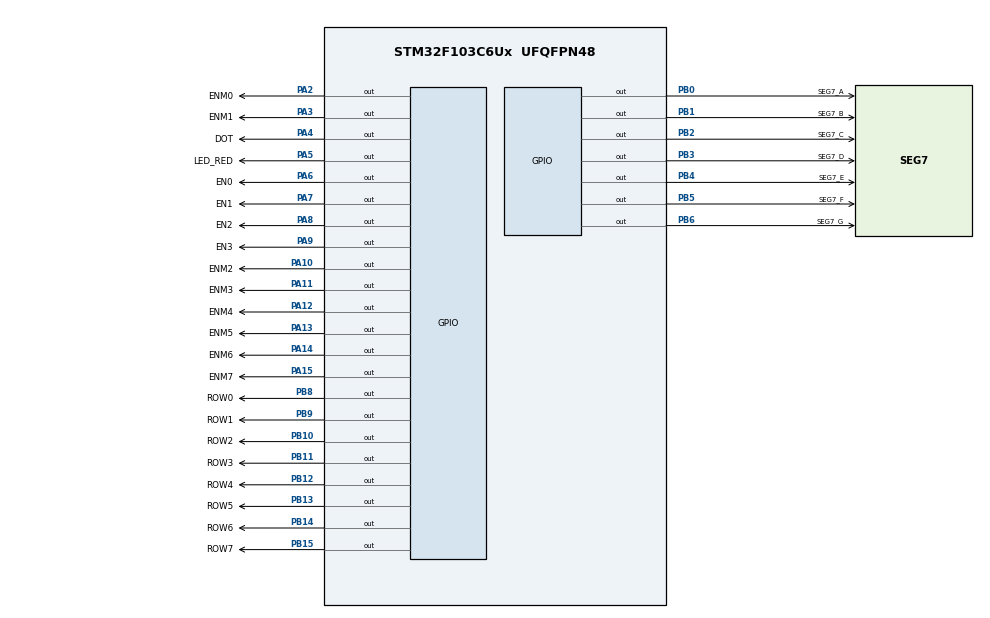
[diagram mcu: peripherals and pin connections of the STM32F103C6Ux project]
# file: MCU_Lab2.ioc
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Mcu.Family=STM32F1
Mcu.Name=STM32F103C6Ux
Mcu.Package=UFQFPN48
NVIC.PriorityGroup=NVIC_PRIORITYGROUP_4
NVIC.TIM2_IRQn=true\:0\:0\:false\:false\:true\:true\:true
PA10.GPIO_Label=ENM2
PA10.Signal=GPIO_Output
PA11.GPIO_Label=ENM3
PA11.Signal=GPIO_Output
PA12.GPIO_Label=ENM4
PA12.Signal=GPIO_Output
PA13.GPIO_Label=ENM5
PA13.Signal=GPIO_Output
PA14.GPIO_Label=ENM6
PA14.Signal=GPIO_Output
PA15.GPIO_Label=ENM7
PA15.Signal=GPIO_Output
PA2.GPIO_Label=ENM0
PA2.Signal=GPIO_Output
PA3.GPIO_Label=ENM1
PA3.Signal=GPIO_Output
PA4.GPIO_Label=DOT
PA4.Signal=GPIO_Output
PA5.GPIO_Label=LED_RED
PA5.Signal=GPIO_Output
PA6.GPIO_Label=EN0
PA6.Signal=GPIO_Output
PA7.GPIO_Label=EN1
PA7.Signal=GPIO_Output
PA8.GPIO_Label=EN2
PA8.Signal=GPIO_Output
PA9.GPIO_Label=EN3
PA9.Signal=GPIO_Output
PB0.GPIO_Label=SEG7_A
PB0.Signal=GPIO_Output
PB1.GPIO_Label=SEG7_B
PB1.Signal=GPIO_Output
PB10.GPIO_Label=ROW2
PB10.Signal=GPIO_Output
PB11.GPIO_Label=ROW3
PB11.Signal=GPIO_Output
PB12.GPIO_Label=ROW4
PB12.Signal=GPIO_Output
PB13.GPIO_Label=ROW5
PB13.Signal=GPIO_Output
PB14.GPIO_Label=ROW6
PB14.Signal=GPIO_Output
PB15.GPIO_Label=ROW7
PB15.Signal=GPIO_Output
PB2.GPIO_Label=SEG7_C
PB2.Signal=GPIO_Output
PB3.GPIO_Label=SEG7_D
PB3.Signal=GPIO_Output
PB4.GPIO_Label=SEG7_E
PB4.Signal=GPIO_Output
PB5.GPIO_Label=SEG7_F
PB5.Signal=GPIO_Output
PB6.GPIO_Label=SEG7_G
PB6.Signal=GPIO_Output
PB8.GPIO_Label=ROW0
PB8.Signal=GPIO_Output
PB9.GPIO_Label=ROW1
PB9.Signal=GPIO_Output
ProjectManager.HeapSize=0x200
ProjectManager.StackSize=0x400
ProjectManager.TargetToolchain=STM32CubeIDE
RCC.APB1Freq_Value=8000000
RCC.APB2Freq_Value=8000000
TIM2.Period=9
TIM2.Prescaler=7999
VP_SYS_VS_ND.Mode=No_Debug
VP_TIM2_VS_ClockSourceINT.Mode=Internal
board=custom

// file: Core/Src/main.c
/* USER CODE BEGIN Header */
/**
  ******************************************************************************
  * @file           : main.c
  * @brief          : Main program body
  ******************************************************************************
  * @attention
  *
  * <h2><center>&copy; Copyright (c) 2023 STMicroelectronics.
  * All rights reserved.</center></h2>
  *
  * This software component is licensed by ST under BSD 3-Clause license,
  * the "License"; You may not use this file except in compliance with the
  * License. You may obtain a copy of the License at:
  *                        opensource.org/licenses/BSD-3-Clause
  *
  ******************************************************************************
  */
/* USER CODE END Header */
#include "main.h"

/* USER CODE BEGIN Includes */
#include "software_timer.h"
/* USER CODE END Includes */

TIM_HandleTypeDef htim2;

void SystemClock_Config(void);
static void MX_GPIO_Init(void);
static void MX_TIM2_Init(void);
/* USER CODE BEGIN PFP */
void display7SEG(int num){
	if(num==1 || num==4) HAL_GPIO_WritePin (SEG7_A_GPIO_Port, SEG7_A_Pin, SET);
	else HAL_GPIO_WritePin (SEG7_A_GPIO_Port, SEG7_A_Pin, RESET);

	if(num==5 || num==6) HAL_GPIO_WritePin (SEG7_B_GPIO_Port, SEG7_B_Pin, SET);
	else HAL_GPIO_WritePin (SEG7_B_GPIO_Port, SEG7_B_Pin, RESET);

	if(num==2) HAL_GPIO_WritePin (SEG7_C_GPIO_Port, SEG7_C_Pin, SET);
	else HAL_GPIO_WritePin (SEG7_C_GPIO_Port, SEG7_C_Pin, RESET);

	if(num==1 || num==4 || num==7) HAL_GPIO_WritePin (SEG7_D_GPIO_Port, SEG7_D_Pin, SET);
	else HAL_GPIO_WritePin (SEG7_D_GPIO_Port, SEG7_D_Pin, RESET);

	if(num==1 || num==3 || num==4 || num==5 || num==7 || num==9) HAL_GPIO_WritePin (SEG7_E_GPIO_Port, SEG7_E_Pin, SET);
	else HAL_GPIO_WritePin (SEG7_E_GPIO_Port, SEG7_E_Pin, RESET);

	if(num==1 || num==2 || num==3 || num==7) HAL_GPIO_WritePin (SEG7_F_GPIO_Port, SEG7_F_Pin, SET);
	else HAL_GPIO_WritePin (SEG7_F_GPIO_Port, SEG7_F_Pin, RESET);

	if(num==0 || num==1 || num==7) HAL_GPIO_WritePin (SEG7_G_GPIO_Port, SEG7_G_Pin, SET);
	else HAL_GPIO_WritePin (SEG7_G_GPIO_Port, SEG7_G_Pin, RESET);

}

const int MAX_LED = 4;
int index_led = 0;
int led_buffer[4] = {1, 2, 3, 4};
void update7SEG(int index){
	switch(index){
	case 0:
		// Display the first 7 SEG with led_buffer [0]
		HAL_GPIO_WritePin(EN0_GPIO_Port, EN0_Pin, RESET);
		HAL_GPIO_WritePin(EN1_GPIO_Port, EN1_Pin, SET);
		HAL_GPIO_WritePin(EN2_GPIO_Port, EN2_Pin, SET);
		HAL_GPIO_WritePin(EN3_GPIO_Port, EN3_Pin, SET);
		display7SEG(led_buffer[0]);
		break;
	case 1:
		// Display the second 7 SEG with led_buffer [1]
		HAL_GPIO_WritePin(EN0_GPIO_Port, EN0_Pin, SET);
		HAL_GPIO_WritePin(EN1_GPIO_Port, EN1_Pin, RESET);
		HAL_GPIO_WritePin(EN2_GPIO_Port, EN2_Pin, SET);
		HAL_GPIO_WritePin(EN3_GPIO_Port, EN3_Pin, SET);
		display7SEG(led_buffer[1]);
		break;
	case 2:
		// Display the third 7 SEG with led_buffer [2]
		HAL_GPIO_WritePin(EN0_GPIO_Port, EN0_Pin, SET);
		HAL_GPIO_WritePin(EN1_GPIO_Port, EN1_Pin, SET);
		HAL_GPIO_WritePin(EN2_GPIO_Port, EN2_Pin, RESET);
		HAL_GPIO_WritePin(EN3_GPIO_Port, EN3_Pin, SET);
		display7SEG(led_buffer[2]);
		break;
	case 3:
		// Display the forth 7 SEG with led_buffer [3]
		HAL_GPIO_WritePin(EN0_GPIO_Port, EN0_Pin, SET);
		HAL_GPIO_WritePin(EN1_GPIO_Port, EN1_Pin, SET);
		HAL_GPIO_WritePin(EN2_GPIO_Port, EN2_Pin, SET);
		HAL_GPIO_WritePin(EN3_GPIO_Port, EN3_Pin, RESET);
		display7SEG(led_buffer[3]);
		break;
	default:
		break;
	}
}

void updateClockBuffer(int hour, int minute){
	led_buffer[0] = hour/10;
	led_buffer[1] = hour%10;
	led_buffer[2] = minute/10;
	led_buffer[3] = minute%10;
}

const int MAX_LED_MATRIX = 8;
int index_led_matrix = 0;
uint8_t matrix_buffer[8] = {0x00, 0x00, 0x00, 0x00, 0x00, 0x00, 0x00, 0x00};
void updateLEDMatrix(int index){
	switch(index){
	case 0:
		HAL_GPIO_WritePin(ROW0_GPIO_Port, ROW0_Pin, RESET);
		HAL_GPIO_WritePin(ROW1_GPIO_Port, ROW1_Pin, SET);
		HAL_GPIO_WritePin(ROW2_GPIO_Port, ROW2_Pin, SET);
		HAL_GPIO_WritePin(ROW3_GPIO_Port, ROW3_Pin, SET);
		HAL_GPIO_WritePin(ROW4_GPIO_Port, ROW4_Pin, SET);
		HAL_GPIO_WritePin(ROW5_GPIO_Port, ROW5_Pin, SET);
		HAL_GPIO_WritePin(ROW6_GPIO_Port, ROW6_Pin, SET);
		HAL_GPIO_WritePin(ROW7_GPIO_Port, ROW7_Pin, SET);

		HAL_GPIO_WritePin(ENM0_GPIO_Port, ENM0_Pin, (matrix_buffer[0] >> 0) & 1);
		HAL_GPIO_WritePin(ENM1_GPIO_Port, ENM1_Pin, (matrix_buffer[0] >> 1) & 1);
		HAL_GPIO_WritePin(ENM2_GPIO_Port, ENM2_Pin, (matrix_buffer[0] >> 2) & 1);
		HAL_GPIO_WritePin(ENM3_GPIO_Port, ENM3_Pin, (matrix_buffer[0] >> 3) & 1);
		HAL_GPIO_WritePin(ENM4_GPIO_Port, ENM4_Pin, (matrix_buffer[0] >> 4) & 1);
		HAL_GPIO_WritePin(ENM5_GPIO_Port, ENM5_Pin, (matrix_buffer[0] >> 5) & 1);
		HAL_GPIO_WritePin(ENM6_GPIO_Port, ENM6_Pin, (matrix_buffer[0] >> 6) & 1);
		HAL_GPIO_WritePin(ENM7_GPIO_Port, ENM7_Pin, (matrix_buffer[0] >> 7) & 1);
		break;
	case 1:
		HAL_GPIO_WritePin(ROW0_GPIO_Port, ROW0_Pin, SET);
		HAL_GPIO_WritePin(ROW1_GPIO_Port, ROW1_Pin, RESET);
		HAL_GPIO_WritePin(ROW2_GPIO_Port, ROW2_Pin, SET);
		HAL_GPIO_WritePin(ROW3_GPIO_Port, ROW3_Pin, SET);
		HAL_GPIO_WritePin(ROW4_GPIO_Port, ROW4_Pin, SET);
		HAL_GPIO_WritePin(ROW5_GPIO_Port, ROW5_Pin, SET);
		HAL_GPIO_WritePin(ROW6_GPIO_Port, ROW6_Pin, SET);
		HAL_GPIO_WritePin(ROW7_GPIO_Port, ROW7_Pin, SET);

		HAL_GPIO_WritePin(ENM0_GPIO_Port, ENM0_Pin, (matrix_buffer[1] >> 0) & 1);
		HAL_GPIO_WritePin(ENM1_GPIO_Port, ENM1_Pin, (matrix_buffer[1] >> 1) & 1);
		HAL_GPIO_WritePin(ENM2_GPIO_Port, ENM2_Pin, (matrix_buffer[1] >> 2) & 1);
		HAL_GPIO_WritePin(ENM3_GPIO_Port, ENM3_Pin, (matrix_buffer[1] >> 3) & 1);
		HAL_GPIO_WritePin(ENM4_GPIO_Port, ENM4_Pin, (matrix_buffer[1] >> 4) & 1);
		HAL_GPIO_WritePin(ENM5_GPIO_Port, ENM5_Pin, (matrix_buffer[1] >> 5) & 1);
		HAL_GPIO_WritePin(ENM6_GPIO_Port, ENM6_Pin, (matrix_buffer[1] >> 6) & 1);
		HAL_GPIO_WritePin(ENM7_GPIO_Port, ENM7_Pin, (matrix_buffer[1] >> 7) & 1);
		break;
	case 2:
		HAL_GPIO_WritePin(ROW0_GPIO_Port, ROW0_Pin, SET);
		HAL_GPIO_WritePin(ROW1_GPIO_Port, ROW1_Pin, SET);
		HAL_GPIO_WritePin(ROW2_GPIO_Port, ROW2_Pin, RESET);
		HAL_GPIO_WritePin(ROW3_GPIO_Port, ROW3_Pin, SET);
		HAL_GPIO_WritePin(ROW4_GPIO_Port, ROW4_Pin, SET);
		HAL_GPIO_WritePin(ROW5_GPIO_Port, ROW5_Pin, SET);
		HAL_GPIO_WritePin(ROW6_GPIO_Port, ROW6_Pin, SET);
		HAL_GPIO_WritePin(ROW7_GPIO_Port, ROW7_Pin, SET);

		HAL_GPIO_WritePin(ENM0_GPIO_Port, ENM0_Pin, (matrix_buffer[2] >> 0) & 1);
		HAL_GPIO_WritePin(ENM1_GPIO_Port, ENM1_Pin, (matrix_buffer[2] >> 1) & 1);
		HAL_GPIO_WritePin(ENM2_GPIO_Port, ENM2_Pin, (matrix_buffer[2] >> 2) & 1);
		HAL_GPIO_WritePin(ENM3_GPIO_Port, ENM3_Pin, (matrix_buffer[2] >> 3) & 1);
		HAL_GPIO_WritePin(ENM4_GPIO_Port, ENM4_Pin, (matrix_buffer[2] >> 4) & 1);
		HAL_GPIO_WritePin(ENM5_GPIO_Port, ENM5_Pin, (matrix_buffer[2] >> 5) & 1);
		HAL_GPIO_WritePin(ENM6_GPIO_Port, ENM6_Pin, (matrix_buffer[2] >> 6) & 1);
		HAL_GPIO_WritePin(ENM7_GPIO_Port, ENM7_Pin, (matrix_buffer[2] >> 7) & 1);
		break;
	case 3:
		HAL_GPIO_WritePin(ROW0_GPIO_Port, ROW0_Pin, SET);
		HAL_GPIO_WritePin(ROW1_GPIO_Port, ROW1_Pin, SET);
		HAL_GPIO_WritePin(ROW2_GPIO_Port, ROW2_Pin, SET);
		HAL_GPIO_WritePin(ROW3_GPIO_Port, ROW3_Pin, RESET);
		HAL_GPIO_WritePin(ROW4_GPIO_Port, ROW4_Pin, SET);
		HAL_GPIO_WritePin(ROW5_GPIO_Port, ROW5_Pin, SET);
		HAL_GPIO_WritePin(ROW6_GPIO_Port, ROW6_Pin, SET);
		HAL_GPIO_WritePin(ROW7_GPIO_Port, ROW7_Pin, SET);

		HAL_GPIO_WritePin(ENM0_GPIO_Port, ENM0_Pin, (matrix_buffer[3] >> 0) & 1);
		HAL_GPIO_WritePin(ENM1_GPIO_Port, ENM1_Pin, (matrix_buffer[3] >> 1) & 1);
		HAL_GPIO_WritePin(ENM2_GPIO_Port, ENM2_Pin, (matrix_buffer[3] >> 2) & 1);
		HAL_GPIO_WritePin(ENM3_GPIO_Port, ENM3_Pin, (matrix_buffer[3] >> 3) & 1);
		HAL_GPIO_WritePin(ENM4_GPIO_Port, ENM4_Pin, (matrix_buffer[3] >> 4) & 1);
		HAL_GPIO_WritePin(ENM5_GPIO_Port, ENM5_Pin, (matrix_buffer[3] >> 5) & 1);
		HAL_GPIO_WritePin(ENM6_GPIO_Port, ENM6_Pin, (matrix_buffer[3] >> 6) & 1);
		HAL_GPIO_WritePin(ENM7_GPIO_Port, ENM7_Pin, (matrix_buffer[3] >> 7) & 1);
		break;
	case 4:
		HAL_GPIO_WritePin(ROW0_GPIO_Port, ROW0_Pin, SET);
		HAL_GPIO_WritePin(ROW1_GPIO_Port, ROW1_Pin, SET);
		HAL_GPIO_WritePin(ROW2_GPIO_Port, ROW2_Pin, SET);
		HAL_GPIO_WritePin(ROW3_GPIO_Port, ROW3_Pin, SET);
		HAL_GPIO_WritePin(ROW4_GPIO_Port, ROW4_Pin, RESET);
		HAL_GPIO_WritePin(ROW5_GPIO_Port, ROW5_Pin, SET);
		HAL_GPIO_WritePin(ROW6_GPIO_Port, ROW6_Pin, SET);
		HAL_GPIO_WritePin(ROW7_GPIO_Port, ROW7_Pin, SET);

		HAL_GPIO_WritePin(ENM0_GPIO_Port, ENM0_Pin, (matrix_buffer[4] >> 0) & 1);
		HAL_GPIO_WritePin(ENM1_GPIO_Port, ENM1_Pin, (matrix_buffer[4] >> 1) & 1);
		HAL_GPIO_WritePin(ENM2_GPIO_Port, ENM2_Pin, (matrix_buffer[4] >> 2) & 1);
		HAL_GPIO_WritePin(ENM3_GPIO_Port, ENM3_Pin, (matrix_buffer[4] >> 3) & 1);
		HAL_GPIO_WritePin(ENM4_GPIO_Port, ENM4_Pin, (matrix_buffer[4] >> 4) & 1);
		HAL_GPIO_WritePin(ENM5_GPIO_Port, ENM5_Pin, (matrix_buffer[4] >> 5) & 1);
		HAL_GPIO_WritePin(ENM6_GPIO_Port, ENM6_Pin, (matrix_buffer[4] >> 6) & 1);
		HAL_GPIO_WritePin(ENM7_GPIO_Port, ENM7_Pin, (matrix_buffer[4] >> 7) & 1);
		break;
	case 5:
		HAL_GPIO_WritePin(ROW0_GPIO_Port, ROW0_Pin, SET);
		HAL_GPIO_WritePin(ROW1_GPIO_Port, ROW1_Pin, SET);
		HAL_GPIO_WritePin(ROW2_GPIO_Port, ROW2_Pin, SET);
		HAL_GPIO_WritePin(ROW3_GPIO_Port, ROW3_Pin, SET);
		HAL_GPIO_WritePin(ROW4_GPIO_Port, ROW4_Pin, SET);
		HAL_GPIO_WritePin(ROW5_GPIO_Port, ROW5_Pin, RESET);
		HAL_GPIO_WritePin(ROW6_GPIO_Port, ROW6_Pin, SET);
		HAL_GPIO_WritePin(ROW7_GPIO_Port, ROW7_Pin, SET);

		HAL_GPIO_WritePin(ENM0_GPIO_Port, ENM0_Pin, (matrix_buffer[5] >> 0) & 1);
		HAL_GPIO_WritePin(ENM1_GPIO_Port, ENM1_Pin, (matrix_buffer[5] >> 1) & 1);
		HAL_GPIO_WritePin(ENM2_GPIO_Port, ENM2_Pin, (matrix_buffer[5] >> 2) & 1);
		HAL_GPIO_WritePin(ENM3_GPIO_Port, ENM3_Pin, (matrix_buffer[5] >> 3) & 1);
		HAL_GPIO_WritePin(ENM4_GPIO_Port, ENM4_Pin, (matrix_buffer[5] >> 4) & 1);
		HAL_GPIO_WritePin(ENM5_GPIO_Port, ENM5_Pin, (matrix_buffer[5] >> 5) & 1);
		HAL_GPIO_WritePin(ENM6_GPIO_Port, ENM6_Pin, (matrix_buffer[5] >> 6) & 1);
		HAL_GPIO_WritePin(ENM7_GPIO_Port, ENM7_Pin, (matrix_buffer[5] >> 7) & 1);
		break;
	case 6:
		HAL_GPIO_WritePin(ROW0_GPIO_Port, ROW0_Pin, SET);
		HAL_GPIO_WritePin(ROW1_GPIO_Port, ROW1_Pin, SET);
		HAL_GPIO_WritePin(ROW2_GPIO_Port, ROW2_Pin, SET);
		HAL_GPIO_WritePin(ROW3_GPIO_Port, ROW3_Pin, SET);
		HAL_GPIO_WritePin(ROW4_GPIO_Port, ROW4_Pin, SET);
		HAL_GPIO_WritePin(ROW5_GPIO_Port, ROW5_Pin, SET);
		HAL_GPIO_WritePin(ROW6_GPIO_Port, ROW6_Pin, RESET);
		HAL_GPIO_WritePin(ROW7_GPIO_Port, ROW7_Pin, SET);

		HAL_GPIO_WritePin(ENM0_GPIO_Port, ENM0_Pin, (matrix_buffer[6] >> 0) & 1);
		HAL_GPIO_WritePin(ENM1_GPIO_Port, ENM1_Pin, (matrix_buffer[6] >> 1) & 1);
		HAL_GPIO_WritePin(ENM2_GPIO_Port, ENM2_Pin, (matrix_buffer[6] >> 2) & 1);
		HAL_GPIO_WritePin(ENM3_GPIO_Port, ENM3_Pin, (matrix_buffer[6] >> 3) & 1);
		HAL_GPIO_WritePin(ENM4_GPIO_Port, ENM4_Pin, (matrix_buffer[6] >> 4) & 1);
		HAL_GPIO_WritePin(ENM5_GPIO_Port, ENM5_Pin, (matrix_buffer[6] >> 5) & 1);
		HAL_GPIO_WritePin(ENM6_GPIO_Port, ENM6_Pin, (matrix_buffer[6] >> 6) & 1);
		HAL_GPIO_WritePin(ENM7_GPIO_Port, ENM7_Pin, (matrix_buffer[6] >> 7) & 1);
		break;
	case 7:
		HAL_GPIO_WritePin(ROW0_GPIO_Port, ROW0_Pin, SET);
		HAL_GPIO_WritePin(ROW1_GPIO_Port, ROW1_Pin, SET);
		HAL_GPIO_WritePin(ROW2_GPIO_Port, ROW2_Pin, SET);
		HAL_GPIO_WritePin(ROW3_GPIO_Port, ROW3_Pin, SET);
		HAL_GPIO_WritePin(ROW4_GPIO_Port, ROW4_Pin, SET);
		HAL_GPIO_WritePin(ROW5_GPIO_Port, ROW5_Pin, SET);
		HAL_GPIO_WritePin(ROW6_GPIO_Port, ROW6_Pin, SET);
		HAL_GPIO_WritePin(ROW7_GPIO_Port, ROW7_Pin, RESET);

		HAL_GPIO_WritePin(ENM0_GPIO_Port, ENM0_Pin, (matrix_buffer[7] >> 0) & 1);
		HAL_GPIO_WritePin(ENM1_GPIO_Port, ENM1_Pin, (matrix_buffer[7] >> 1) & 1);
		HAL_GPIO_WritePin(ENM2_GPIO_Port, ENM2_Pin, (matrix_buffer[7] >> 2) & 1);
		HAL_GPIO_WritePin(ENM3_GPIO_Port, ENM3_Pin, (matrix_buffer[7] >> 3) & 1);
		HAL_GPIO_WritePin(ENM4_GPIO_Port, ENM4_Pin, (matrix_buffer[7] >> 4) & 1);
		HAL_GPIO_WritePin(ENM5_GPIO_Port, ENM5_Pin, (matrix_buffer[7] >> 5) & 1);
		HAL_GPIO_WritePin(ENM6_GPIO_Port, ENM6_Pin, (matrix_buffer[7] >> 6) & 1);
		HAL_GPIO_WritePin(ENM7_GPIO_Port, ENM7_Pin, (matrix_buffer[7] >> 7) & 1);
		break;
	default:
	break;
	}
}

void updateMatrixBuffer(int shift){
	uint8_t base[8] = {0x18, 0x3C, 0x66, 0x66, 0x7E, 0x7E, 0x66, 0x66};
	if (shift >= 0){
//	    matrix_buffer[0] = ~(base[0] >> shift);
//	    matrix_buffer[1] = ~(base[1] >> shift);
//	    matrix_buffer[2] = ~(base[2] >> shift);
//	    matrix_buffer[3] = ~(base[3] >> shift);
//	    matrix_buffer[4] = ~(base[4] >> shift);
//	    matrix_buffer[5] = ~(base[5] >> shift);
//	    matrix_buffer[6] = ~(base[6] >> shift);
//	    matrix_buffer[7] = ~(base[7] >> shift);

        matrix_buffer[0] = ~(base[0] << shift);
        matrix_buffer[1] = ~(base[1] << shift);
        matrix_buffer[2] = ~(base[2] << shift);
        matrix_buffer[3] = ~(base[3] << shift);
        matrix_buffer[4] = ~(base[4] << shift);
        matrix_buffer[5] = ~(base[5] << shift);
        matrix_buffer[6] = ~(base[6] << shift);
        matrix_buffer[7] = ~(base[7] << shift);
	}
	else{
	    shift = -shift;
//	    matrix_buffer[0] = ~(base[0] << shift);
//	    matrix_buffer[1] = ~(base[1] << shift);
//	    matrix_buffer[2] = ~(base[2] << shift);
//	    matrix_buffer[3] = ~(base[3] << shift);
//	    matrix_buffer[4] = ~(base[4] << shift);
//	    matrix_buffer[5] = ~(base[5] << shift);
//	    matrix_buffer[6] = ~(base[6] << shift);
//	    matrix_buffer[7] = ~(base[7] << shift);

	    matrix_buffer[0] = ~(base[0] >> shift);
	    matrix_buffer[1] = ~(base[1] >> shift);
	    matrix_buffer[2] = ~(base[2] >> shift);
	    matrix_buffer[3] = ~(base[3] >> shift);
	    matrix_buffer[4] = ~(base[4] >> shift);
	    matrix_buffer[5] = ~(base[5] >> shift);
	    matrix_buffer[6] = ~(base[6] >> shift);
	    matrix_buffer[7] = ~(base[7] >> shift);
	}
}

/* USER CODE END PFP */

int main(void)
{

  /* MCU Configuration--------------------------------------------------------*/

  /* Reset of all peripherals, Initializes the Flash interface and the Systick. */
  HAL_Init();

  /* Configure the system clock */
  SystemClock_Config();

  /* Initialize all configured peripherals */
  MX_GPIO_Init();
  MX_TIM2_Init();
  /* USER CODE BEGIN 2 */
  HAL_TIM_Base_Start_IT(&htim2);
  /* USER CODE END 2 */

  /* Infinite loop */
  /* USER CODE BEGIN WHILE */
  setTimer(100, 0);
  setTimer(100, 1);
  setTimer(25, 2);
  setTimer(100, 3);
  setTimer(10, 4);
  setTimer(80, 5);
//  int currentState = 0;
  int hour = 15, minute = 8, second = 50;
  int shift = -7;
  updateClockBuffer(hour, minute);
  while (1)
  {
	  if(timer_flag[0] == 1){
		  setTimer(100, 0);
		  HAL_GPIO_TogglePin(LED_RED_GPIO_Port, LED_RED_Pin);
	  }
	  if(timer_flag[1] == 1){
		  setTimer(100, 1);
		  HAL_GPIO_TogglePin(DOT_GPIO_Port, DOT_Pin);
	  }
	  if(timer_flag[2] == 1){
		  setTimer(25, 2);
		  update7SEG(index_led);
		  index_led++;
		  if(index_led >= MAX_LED) index_led = 0;
	  }
	  if(timer_flag[3] == 1){
		  setTimer(100, 3);
		  second++;
		  if(second >= 60){
			  second = 0;
			  minute++;
		  }
		  if(minute >= 60){
			  minute = 0;
			  hour++;
		  }
		  if(hour >= 24){
			  hour = 0;
		  }
		  updateClockBuffer(hour, minute);
	  }
	  if(timer_flag[4] == 1){
		  setTimer(10, 4);
		  updateLEDMatrix(index_led_matrix);
		  index_led_matrix++;
		  if(index_led_matrix >= MAX_LED_MATRIX) index_led_matrix = 0;
		  HAL_Delay(6);
	  }
	  if(timer_flag[5] == 1){
		  setTimer(80, 5);
		  updateMatrixBuffer(shift);
		  shift++;
		  if(shift >= 7) shift = -7;
	  }

    /* USER CODE END WHILE */

  }
}

void SystemClock_Config(void)
{
  RCC_OscInitTypeDef RCC_OscInitStruct = {0};
  RCC_ClkInitTypeDef RCC_ClkInitStruct = {0};

  /** Initializes the RCC Oscillators according to the specified parameters
  * in the RCC_OscInitTypeDef structure.
  */
  RCC_OscInitStruct.OscillatorType = RCC_OSCILLATORTYPE_HSI;
  RCC_OscInitStruct.HSIState = RCC_HSI_ON;
  RCC_OscInitStruct.HSICalibrationValue = RCC_HSICALIBRATION_DEFAULT;
  RCC_OscInitStruct.PLL.PLLState = RCC_PLL_NONE;
  if (HAL_RCC_OscConfig(&RCC_OscInitStruct) != HAL_OK)
  {
    Error_Handler();
  }
  /** Initializes the CPU, AHB and APB buses clocks
  */
  RCC_ClkInitStruct.ClockType = RCC_CLOCKTYPE_HCLK|RCC_CLOCKTYPE_SYSCLK
                              |RCC_CLOCKTYPE_PCLK1|RCC_CLOCKTYPE_PCLK2;
  RCC_ClkInitStruct.SYSCLKSource = RCC_SYSCLKSOURCE_HSI;
  RCC_ClkInitStruct.AHBCLKDivider = RCC_SYSCLK_DIV1;
  RCC_ClkInitStruct.APB1CLKDivider = RCC_HCLK_DIV1;
  RCC_ClkInitStruct.APB2CLKDivider = RCC_HCLK_DIV1;

  if (HAL_RCC_ClockConfig(&RCC_ClkInitStruct, FLASH_LATENCY_0) != HAL_OK)
  {
    Error_Handler();
  }
}

static void MX_TIM2_Init(void)
{

  TIM_ClockConfigTypeDef sClockSourceConfig = {0};
  TIM_MasterConfigTypeDef sMasterConfig = {0};

  htim2.Instance = TIM2;
  htim2.Init.Prescaler = 7999;
  htim2.Init.CounterMode = TIM_COUNTERMODE_UP;
  htim2.Init.Period = 9;
  htim2.Init.ClockDivision = TIM_CLOCKDIVISION_DIV1;
  htim2.Init.AutoReloadPreload = TIM_AUTORELOAD_PRELOAD_DISABLE;
  if (HAL_TIM_Base_Init(&htim2) != HAL_OK)
  {
    Error_Handler();
  }
  sClockSourceConfig.ClockSource = TIM_CLOCKSOURCE_INTERNAL;
  if (HAL_TIM_ConfigClockSource(&htim2, &sClockSourceConfig) != HAL_OK)
  {
    Error_Handler();
  }
  sMasterConfig.MasterOutputTrigger = TIM_TRGO_RESET;
  sMasterConfig.MasterSlaveMode = TIM_MASTERSLAVEMODE_DISABLE;
  if (HAL_TIMEx_MasterConfigSynchronization(&htim2, &sMasterConfig) != HAL_OK)
  {
    Error_Handler();
  }

}

static void MX_GPIO_Init(void)
{
  GPIO_InitTypeDef GPIO_InitStruct = {0};

  /* GPIO Ports Clock Enable */
  __HAL_RCC_GPIOA_CLK_ENABLE();
  __HAL_RCC_GPIOB_CLK_ENABLE();

  /*Configure GPIO pin Output Level */
  HAL_GPIO_WritePin(GPIOA, ENM0_Pin|ENM1_Pin|DOT_Pin|LED_RED_Pin
                          |EN0_Pin|EN1_Pin|EN2_Pin|EN3_Pin
                          |ENM2_Pin|ENM3_Pin|ENM4_Pin|ENM5_Pin
                          |ENM6_Pin|ENM7_Pin, GPIO_PIN_RESET);

  /*Configure GPIO pin Output Level */
  HAL_GPIO_WritePin(GPIOB, SEG7_A_Pin|SEG7_B_Pin|SEG7_C_Pin|ROW2_Pin
                          |ROW3_Pin|ROW4_Pin|ROW5_Pin|ROW6_Pin
                          |ROW7_Pin|SEG7_D_Pin|SEG7_E_Pin|SEG7_F_Pin
                          |SEG7_G_Pin|ROW0_Pin|ROW1_Pin, GPIO_PIN_RESET);

  /*Configure GPIO pins : ENM0_Pin ENM1_Pin DOT_Pin LED_RED_Pin
                           EN0_Pin EN1_Pin EN2_Pin EN3_Pin
                           ENM2_Pin ENM3_Pin ENM4_Pin ENM5_Pin
                           ENM6_Pin ENM7_Pin */
  GPIO_InitStruct.Pin = ENM0_Pin|ENM1_Pin|DOT_Pin|LED_RED_Pin
                          |EN0_Pin|EN1_Pin|EN2_Pin|EN3_Pin
                          |ENM2_Pin|ENM3_Pin|ENM4_Pin|ENM5_Pin
                          |ENM6_Pin|ENM7_Pin;
  GPIO_InitStruct.Mode = GPIO_MODE_OUTPUT_PP;
  GPIO_InitStruct.Pull = GPIO_NOPULL;
  GPIO_InitStruct.Speed = GPIO_SPEED_FREQ_LOW;
  HAL_GPIO_Init(GPIOA, &GPIO_InitStruct);

  /*Configure GPIO pins : SEG7_A_Pin SEG7_B_Pin SEG7_C_Pin ROW2_Pin
                           ROW3_Pin ROW4_Pin ROW5_Pin ROW6_Pin
                           ROW7_Pin SEG7_D_Pin SEG7_E_Pin SEG7_F_Pin
                           SEG7_G_Pin ROW0_Pin ROW1_Pin */
  GPIO_InitStruct.Pin = SEG7_A_Pin|SEG7_B_Pin|SEG7_C_Pin|ROW2_Pin
                          |ROW3_Pin|ROW4_Pin|ROW5_Pin|ROW6_Pin
                          |ROW7_Pin|SEG7_D_Pin|SEG7_E_Pin|SEG7_F_Pin
                          |SEG7_G_Pin|ROW0_Pin|ROW1_Pin;
  GPIO_InitStruct.Mode = GPIO_MODE_OUTPUT_PP;
  GPIO_InitStruct.Pull = GPIO_NOPULL;
  GPIO_InitStruct.Speed = GPIO_SPEED_FREQ_LOW;
  HAL_GPIO_Init(GPIOB, &GPIO_InitStruct);

}

/* USER CODE BEGIN 4 */

void HAL_TIM_PeriodElapsedCallback(TIM_HandleTypeDef *htim){
	timerRun();
}
/* USER CODE END 4 */

void Error_Handler(void)
{
  __disable_irq();
  while (1)
  {
  }
}

/************************ (C) COPYRIGHT STMicroelectronics *****END OF FILE****/
